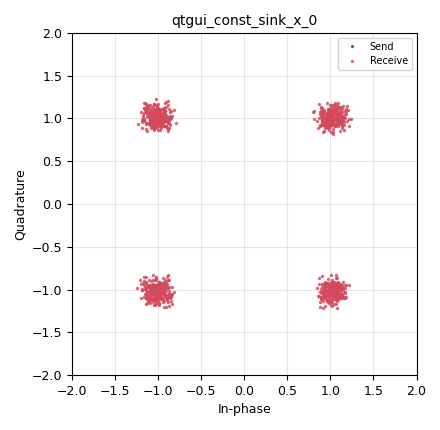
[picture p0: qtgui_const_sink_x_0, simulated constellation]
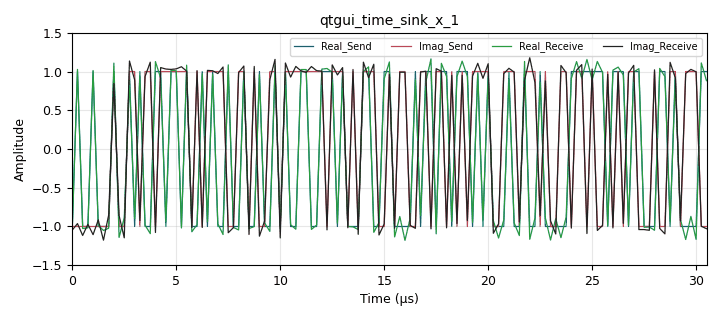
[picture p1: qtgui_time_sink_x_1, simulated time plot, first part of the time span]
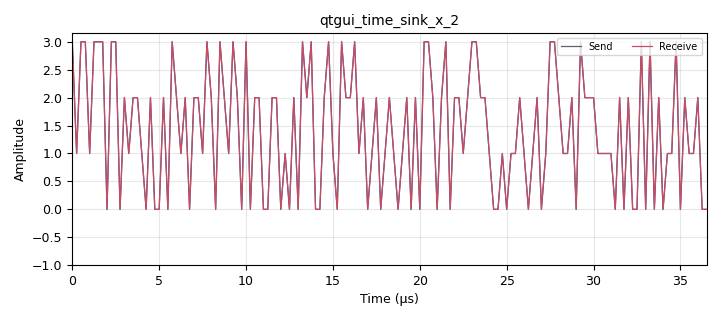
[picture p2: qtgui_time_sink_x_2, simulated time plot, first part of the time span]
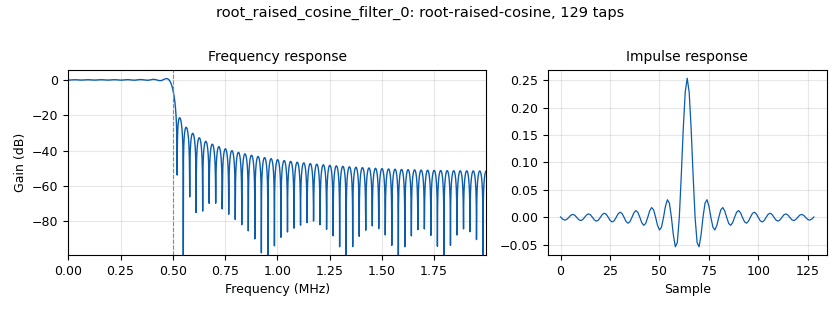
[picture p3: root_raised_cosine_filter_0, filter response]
options:
  parameters:
    generate_options: qt_gui
    id: QPSK_Simulation
    output_language: python
    title: QPSK_Simulation
  states: {}

blocks:
- name: excess_bw
  id: variable
  parameters:
    value: '0.01'
  states: {}
- name: qpsk
  id: variable_constellation_rect
  parameters:
    const_points: sym_map
    imag_sect: '2'
    real_sect: '2'
    rot_sym: '4'
    sym_map: '[0, 1, 2, 3]'
    w_imag_sect: '1'
    w_real_sect: '1'
  states: {}
- name: sps
  id: variable
  parameters:
    value: '4'
  states: {}
- name: sym_map
  id: variable
  parameters:
    value: '[1+1j,1-1j,-1+1j,-1-1j]'
  states: {}
- name: sym_rate
  id: variable
  parameters:
    value: 1e6
  states: {}
- name: analog_random_source_x_0
  id: analog_random_source_x
  parameters:
    max: '4'
    min: '0'
    num_samps: '100000'
    repeat: 'True'
    type: byte
  states: {}
- name: blocks_char_to_float_1
  id: blocks_char_to_float
  parameters:
    scale: '1'
  states: {}
- name: blocks_char_to_float_2
  id: blocks_char_to_float
  parameters:
    scale: '1'
  states: {}
- name: blocks_delay_0
  id: blocks_delay
  parameters:
    delay: '32'
    type: complex
  states: {}
- name: blocks_delay_1
  id: blocks_delay
  parameters:
    delay: '32'
    type: float
  states: {}
- name: blocks_delay_2
  id: blocks_delay
  parameters:
    delay: '0'
    type: complex
  states: {state: disabled}
- name: blocks_delay_2_0
  id: blocks_delay
  parameters:
    delay: '3'
    type: complex
  states: {state: disabled}
- name: blocks_delay_2_1
  id: blocks_delay
  parameters:
    delay: '2'
    type: complex
  states: {state: disabled}
- name: blocks_delay_2_2
  id: blocks_delay
  parameters:
    delay: '1'
    type: complex
  states: {state: disabled}
- name: blocks_float_to_int_0
  id: blocks_float_to_int
  parameters:
    scale: '1'
  states: {}
- name: blocks_multiply_const_vxx_0
  id: blocks_multiply_const_vxx
  parameters:
    const: '4'
    type: complex
  states: {}
- name: blocks_throttle2_0_0
  id: blocks_throttle2
  parameters:
    comment: Symbol Rate
    samples_per_second: sym_rate
    type: complex
  states: {}
- name: digital_chunks_to_symbols_xx_0
  id: digital_chunks_to_symbols_xx
  parameters:
    comment: Symbol Mapping
    dimension: '1'
    in_type: int
    out_type: complex
    symbol_table: sym_map
  states: {}
- name: digital_constellation_decoder_cb_0
  id: digital_constellation_decoder_cb
  parameters:
    comment: Decoder
    constellation: qpsk
  states: {}
- name: fir_filter_xxx_1_0
  id: fir_filter_xxx
  parameters:
    comment: Decimation Filter
    decim: '4'
    taps: '[1,0,0,0]'
    type: ccc
  states: {}
- name: interp_fir_filter_xxx_0
  id: interp_fir_filter_xxx
  parameters:
    comment: Oversampling
    interp: '4'
    taps: '[1,0,0,0]'
    type: ccc
  states: {}
- name: qtgui_const_sink_x_0
  id: qtgui_const_sink_x
  parameters:
    grid: 'True'
    gui_hint: 0,1,1,1
    label1: Send
    label2: Receive
    nconnections: '2'
    size: '1024'
    type: complex
  states: {}
- name: qtgui_eye_sink_x_0
  id: qtgui_eye_sink_x
  parameters:
    color2: red
    grid: 'True'
    gui_hint: 0,0,1,1
    label1: Real Delay 0
    label2: Imag Delay 0
    samp_per_symbol: sps
    size: '1024'
    srate: sym_rate*sps
    type: complex
  states: {state: disabled}
- name: qtgui_eye_sink_x_0_0
  id: qtgui_eye_sink_x
  parameters:
    color2: red
    grid: 'True'
    gui_hint: 0,1,1,1
    label1: Real Delay 1
    label2: Imag Delay 1
    samp_per_symbol: sps
    size: '1024'
    srate: sym_rate*sps
    type: complex
  states: {state: disabled}
- name: qtgui_eye_sink_x_0_1
  id: qtgui_eye_sink_x
  parameters:
    color2: red
    grid: 'True'
    gui_hint: 1,0,1,1
    label1: Real Delay 2
    label2: Imag Delay 2
    samp_per_symbol: sps
    size: '1024'
    srate: sym_rate*sps
    type: complex
  states: {state: disabled}
- name: qtgui_eye_sink_x_0_2
  id: qtgui_eye_sink_x
  parameters:
    color2: red
    grid: 'True'
    gui_hint: 1,1,1,1
    label1: Real Delay 3
    label2: Imag Delay 3
    samp_per_symbol: sps
    size: '1024'
    srate: sym_rate*sps
    type: complex
  states: {state: disabled}
- name: qtgui_number_sink_0
  id: qtgui_number_sink
  parameters:
    graph_type: qtgui.NUM_GRAPH_HORIZ
    gui_hint: 1,1,1,1
    label1: Send
    label2: Receive
    max: '3'
    nconnections: '2'
    type: float
  states: {}
- name: qtgui_time_sink_x_1
  id: qtgui_time_sink_x
  parameters:
    gui_hint: 0,0,1,1
    label1: Real_Send
    label2: Imag_Send
    label3: Real_Receive
    label4: Imag_Receive
    nconnections: '2'
    size: '1024'
    srate: sym_rate*sps
    style1: '3'
    type: complex
    ymax: '1.5'
    ymin: '-1.5'
  states: {}
- name: qtgui_time_sink_x_2
  id: qtgui_time_sink_x
  parameters:
    gui_hint: 1,0,1,1
    label1: Send
    label2: Receive
    nconnections: '2'
    size: '1024'
    srate: sym_rate*sps
    type: float
    ymax: '3'
  states: {}
- name: root_raised_cosine_filter_0
  id: root_raised_cosine_filter
  parameters:
    alpha: excess_bw
    comment: Pulse Shaping Filter
    decim: '1'
    gain: '1'
    ntaps: '128'
    samp_rate: sym_rate*sps
    sym_rate: sym_rate
    type: fir_filter_ccf
  states: {}
- name: root_raised_cosine_filter_0_0
  id: root_raised_cosine_filter
  parameters:
    alpha: excess_bw
    comment: Pulse Shaping Filter
    decim: '1'
    gain: '1'
    ntaps: '128'
    samp_rate: sym_rate*sps
    sym_rate: sym_rate
    type: fir_filter_ccf
  states: {}
- name: virtual_sink_0
  id: virtual_sink
  parameters:
    stream_id: send_symbol
  states: {}
- name: virtual_sink_0_0
  id: virtual_sink
  parameters:
    stream_id: receive_symbol
  states: {}
- name: virtual_sink_1
  id: virtual_sink
  parameters:
    stream_id: send_float
  states: {}
- name: virtual_sink_2
  id: virtual_sink
  parameters:
    stream_id: receive_float
  states: {}
- name: virtual_sink_2_0
  id: virtual_sink
  parameters:
    comment: Tx
    stream_id: send_receive
  states: {}
- name: virtual_source_0
  id: virtual_source
  parameters:
    stream_id: send_symbol
  states: {}
- name: virtual_source_0_0
  id: virtual_source
  parameters:
    stream_id: receive_symbol
  states: {}
- name: virtual_source_0_0_1
  id: virtual_source
  parameters:
    comment: Rx
    stream_id: send_receive
  states: {}
- name: virtual_source_0_0_1_0
  id: virtual_source
  parameters:
    stream_id: send_receive
  states: {state: disabled}
- name: virtual_source_1
  id: virtual_source
  parameters:
    stream_id: send_float
  states: {}
- name: virtual_source_1_0
  id: virtual_source
  parameters:
    stream_id: receive_float
  states: {}

connections:
- [analog_random_source_x_0, '0', blocks_char_to_float_2, '0']
- [blocks_char_to_float_1, '0', virtual_sink_2, '0']
- [blocks_char_to_float_2, '0', blocks_float_to_int_0, '0']
- [blocks_char_to_float_2, '0', virtual_sink_1, '0']
- [blocks_delay_0, '0', qtgui_const_sink_x_0, '0']
- [blocks_delay_0, '0', qtgui_time_sink_x_1, '0']
- [blocks_delay_1, '0', qtgui_number_sink_0, '0']
- [blocks_delay_1, '0', qtgui_time_sink_x_2, '0']
- [blocks_delay_2, '0', qtgui_eye_sink_x_0, '0']
- [blocks_delay_2_0, '0', qtgui_eye_sink_x_0_2, '0']
- [blocks_delay_2_1, '0', qtgui_eye_sink_x_0_1, '0']
- [blocks_delay_2_2, '0', qtgui_eye_sink_x_0_0, '0']
- [blocks_float_to_int_0, '0', digital_chunks_to_symbols_xx_0, '0']
- [blocks_multiply_const_vxx_0, '0', digital_constellation_decoder_cb_0, '0']
- [blocks_multiply_const_vxx_0, '0', virtual_sink_0_0, '0']
- [blocks_throttle2_0_0, '0', interp_fir_filter_xxx_0, '0']
- [blocks_throttle2_0_0, '0', virtual_sink_0, '0']
- [digital_chunks_to_symbols_xx_0, '0', blocks_throttle2_0_0, '0']
- [digital_constellation_decoder_cb_0, '0', blocks_char_to_float_1, '0']
- [fir_filter_xxx_1_0, '0', blocks_multiply_const_vxx_0, '0']
- [interp_fir_filter_xxx_0, '0', root_raised_cosine_filter_0, '0']
- [root_raised_cosine_filter_0, '0', virtual_sink_2_0, '0']
- [root_raised_cosine_filter_0_0, '0', fir_filter_xxx_1_0, '0']
- [virtual_source_0, '0', blocks_delay_0, '0']
- [virtual_source_0_0, '0', qtgui_const_sink_x_0, '1']
- [virtual_source_0_0, '0', qtgui_time_sink_x_1, '1']
- [virtual_source_0_0_1, '0', root_raised_cosine_filter_0_0, '0']
- [virtual_source_0_0_1_0, '0', blocks_delay_2, '0']
- [virtual_source_0_0_1_0, '0', blocks_delay_2_0, '0']
- [virtual_source_0_0_1_0, '0', blocks_delay_2_1, '0']
- [virtual_source_0_0_1_0, '0', blocks_delay_2_2, '0']
- [virtual_source_1, '0', blocks_delay_1, '0']
- [virtual_source_1_0, '0', qtgui_number_sink_0, '1']
- [virtual_source_1_0, '0', qtgui_time_sink_x_2, '1']

metadata:
  file_format: 1
  grc_version: 3.10.10.0
